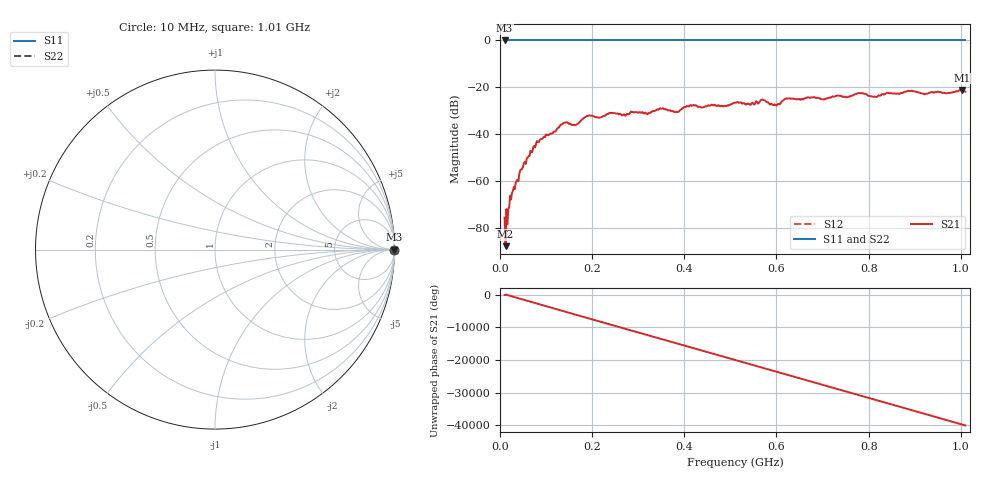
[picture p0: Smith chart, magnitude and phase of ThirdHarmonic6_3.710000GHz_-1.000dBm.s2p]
! 8/17/2025 12:37:55 PM
! C:\ANRITSUVNA\TEMP\TEMP.S2P
! CHANNEL.1
! TR.MEASUREMENT
! RAW.DATA
! RF.CORRECTION.OFF
! AVERAGING.OFF
! IF.BANDWIDTH: 5KHZ
! SWEEPTYPE:  FREQ.SWEEP(Linear)
! Reference Plane Port Info
! PORT:  PORT1  PORT2
! DISTANCE:  0  m  0  m
! TIME:  0  s  0  s
! PHASE.OFFSET:  0  deg.  0  deg.
! LOSS:  0  dB  0  dB
! REF.LOSS:  0  dB  0  dB
! REF.FREQ:  0  Hz  0  Hz
! Power Info
! POWER:  -20  dBm  -20  dBm
! EFF.POWER:  -20  dBm  -20  dBm
! SOURCE.ATTEN:  0  dB  0  dB
! TEST.ATTEN:  0  dB  0  dB
# GHZ S RI R 50.0
! FREQ.GHZ  S11RE  S11IM  S21RE  S21IM  S12RE  S12IM  S22RE  S22IM
!; PortSelection: Port_12
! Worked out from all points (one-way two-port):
!   501 points, 10 MHz to 1.01 GHz, reference 50 ohm
!   highest |S21| = -21.19 dB at 1.002 GHz (marker M1); lowest = -87.9 dB at 12 MHz (marker M2)
!   lowest |S11| = 0.0 dB at 10 MHz (marker M3)
!   |S11| at or under -10 dB: nowhere
!   |S22| runs from 0.0 to 0.0 dB; largest |S21 - S12| = 1.1
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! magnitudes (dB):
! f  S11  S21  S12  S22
! 10 MHz  0.0  -75.6  0.0  0.0
! 12 MHz  0.0  -87.9  0.0  0.0
! 16 MHz  0.0  -78.6  0.0  0.0
! 26 MHz  0.0  -65.1  0.0  0.0
! 46 MHz  0.0  -55.1  0.0  0.0
! 76 MHz  0.0  -45.7  0.0  0.0
! 136 MHz  0.0  -35.6  0.0  0.0
! 162 MHz  0.0  -36.1  0.0  0.0
! 178 MHz  0.0  -33.8  0.0  0.0
! 344 MHz  0.0  -29.5  0.0  0.0
! 384 MHz  0.0  -30.5  0.0  0.0
! 416 MHz  0.0  -27.9  0.0  0.0
! 510 MHz  0.0  -26.5  0.0  0.0
! 570 MHz  0.0  -25.2  0.0  0.0
! 596 MHz  0.0  -27.3  0.0  0.0
! 622 MHz  0.0  -24.7  0.0  0.0
! 678 MHz  0.0  -24.3  0.0  0.0
! 782 MHz  0.0  -22.5  0.0  0.0
! 814 MHz  0.0  -24.0  0.0  0.0
! 844 MHz  0.0  -22.5  0.0  0.0
! 1.002 GHz  0.0  -21.2  0.0  0.0
! 1.01 GHz  0.0  -21.9  0.0  0.0
